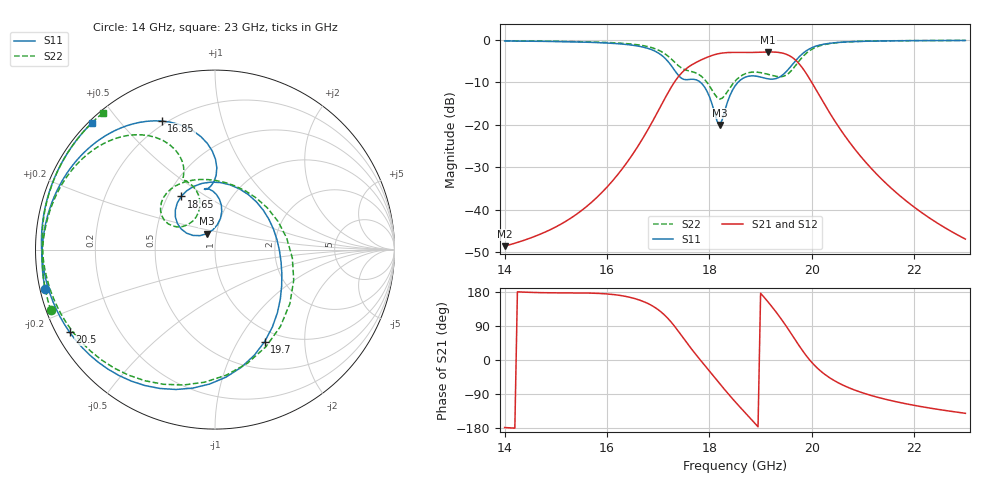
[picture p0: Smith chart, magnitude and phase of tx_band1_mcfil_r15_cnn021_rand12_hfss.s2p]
! Touchstone file exported from HFSS 3D Layout Design 2026.1.0
!  File:  D:/Work/SIM/ADS_AUTO_SIM/projects/RFSOC_RF/TX_Fillter.aedt
!  Generated:  12:45:55 AM Aug 31, 2026
!  Design:  TX_BAND1_MCFIL_R15_CNN021
!  Project:  TX_Fillter
# GHz S MA R 50.000000
! Terminal data exported
! Port[1] = Port1
! Port[2] = Port2
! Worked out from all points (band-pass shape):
!   181 points, 14 GHz to 23 GHz, reference 50 ohm
!   highest |S21| = -2.83 dB at 19.15 GHz (marker M1); lowest = -48.6 dB at 14 GHz (marker M2)
!   |S21| within 3 dB of the highest: 17.66 GHz to 19.77 GHz (2.104 GHz wide, 11.2 % of centre)
!   lowest |S11| = -20.0 dB at 18.2 GHz (marker M3), VSWR 1.22, Z = 44.9 + j7.99 ohm
!   |S11| at or under -10 dB: 17.82 GHz to 18.56 GHz (735.6 MHz wide, 4.04 % of centre)
!   |S22| runs from -13.9 to -0.1 dB; largest |S21 - S12| = 2.2e-14
!   S11 on the Smith chart (normalised r, x): 14 GHz: 0.01, -0.11; 16.85 GHz: 0.18, +0.65; 18.65 GHz: 0.58, +0.39; 19.7 GHz: 0.84, -1.30; 20.5 GHz: 0.04, -0.26; 23 GHz: 0.01, +0.42
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14  0.9717 -166.9  0.003706 -178.2  0.003706 -178.2  0.975 -159.7
15.5  0.943 161.8  0.009719 176.9  0.009719 176.9  0.9516 171.6
16.25  0.898 139.6  0.02774 170.5  0.02774 170.5  0.916 152.3
16.85  0.7752 112.5  0.09924 145.5  0.09924 145.5  0.8187 130.0
17  0.702 103.4  0.1455 132.7  0.1455 132.7  0.7603 122.7
17.25  0.5026 89.7  0.2741 100.6  0.2741 100.6  0.5997 111.8
17.55  0.3394 99.1  0.4593 47.1  0.4593 47.1  0.4392 113.8
17.9  0.2813 84.9  0.6039 -12.7  0.6039 -12.7  0.3452 107.5
18.2  0.09956 117.8  0.6919 -62.1  0.6919 -62.1  0.2012 128.6
18.5  0.2859 140.5  0.7117 -109.7  0.7117 -109.7  0.3258 149.9
18.65  0.3511 122.6  0.7097 -132.0  0.7097 -132.0  0.3863 141.8
18.9  0.3747 85.4  0.7134 -168.6  0.7134 -168.6  0.4176 121.8
19.15  0.3472 39.3  0.7216 152.5  0.7216 152.5  0.3919 95.7
19.45  0.3954 -19.7  0.6928 99.2  0.6928 99.2  0.3731 38.3
19.7  0.5824 -61.6  0.5652 48.5  0.5652 48.5  0.5144 -35.8
19.85  0.713 -85.0  0.4383 18.9  0.4383 18.9  0.6581 -74.0
20  0.8091 -105.6  0.3148 -6.3  0.3148 -6.3  0.7745 -103.1
20.25  0.894 -131.8  0.1734 -37.5  0.1734 -37.5  0.8818 -135.8
20.5  0.9315 -150.4  0.09936 -59.0  0.09936 -59.0  0.9288 -156.7
20.9  0.9582 -171.2  0.0465 -82.4  0.0465 -82.4  0.96 -178.3
21.5  0.9742 167.7  0.01908 -105.6  0.01908 -105.6  0.9763 160.9
23  0.9845 134.3  0.004491 -140.7  0.004491 -140.7  0.9851 129.2
